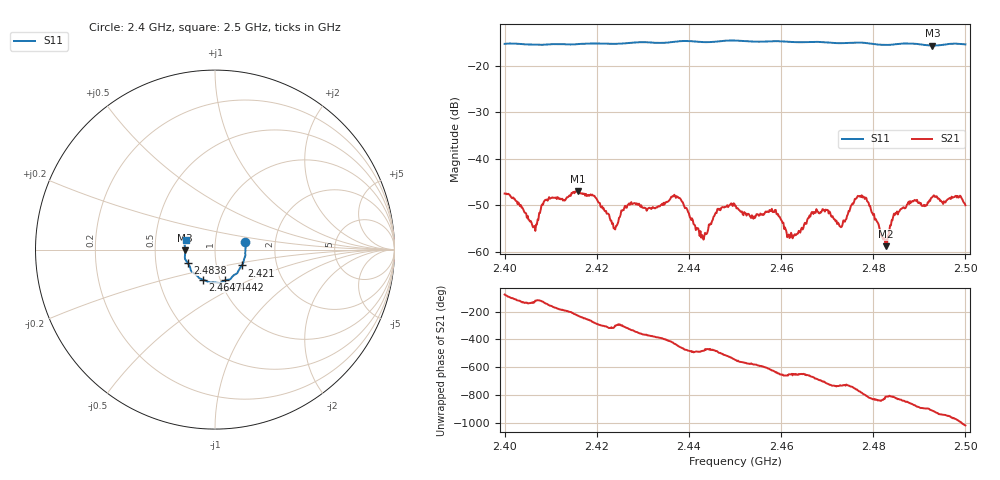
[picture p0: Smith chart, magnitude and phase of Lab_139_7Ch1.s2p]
# Hz S RI R 50
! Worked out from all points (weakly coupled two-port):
!   601 points, 2.4 GHz to 2.5 GHz, reference 50 ohm
!   highest |S21| = -46.92 dB at 2.4158 GHz (marker M1); lowest = -58.8 dB at 2.4827 GHz (marker M2)
!   lowest |S11| = -15.6 dB at 2.4928 GHz (marker M3), VSWR 1.40, Z = 35.8 - j0.359 ohm
!   |S11| at or under -10 dB: start of sweep to end of sweep
!   S12 and S22 are empty: the file has one direction only
!   S11 on the Smith chart (normalised r, x): 2.4 GHz: 1.40, +0.12; 2.421 GHz: 1.33, -0.24; 2.4442 GHz: 1.05, -0.37; 2.4647 GHz: 0.83, -0.29; 2.4838 GHz: 0.73, -0.11; 2.5 GHz: 0.72, +0.08
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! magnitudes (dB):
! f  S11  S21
! 2.4 GHz  -15.2  -47.5
! 2.4065 GHz  -15.4  -54.5
! 2.4092 GHz  -15.4  -48.8
! 2.4158 GHz  -15.3  -46.9
! 2.4167 GHz  -15.2  -47.5
! 2.421 GHz  -15.2  -50.5
! 2.4238 GHz  -15.2  -55.0
! 2.4272 GHz  -15.0  -49.9
! 2.4333 GHz  -15.0  -50.2
! 2.4373 GHz  -14.7  -48.0
! 2.4427 GHz  -14.8  -57.0
! 2.4442 GHz  -14.9  -55.3
! 2.45 GHz  -14.5  -50.1
! 2.4647 GHz  -14.9  -55.2
! 2.4667 GHz  -14.8  -51.5
! 2.4728 GHz  -15.1  -54.6
! 2.478 GHz  -15.0  -48.3
! 2.4827 GHz  -15.5  -58.8
! 2.4833 GHz  -15.5  -56.3
! 2.4838 GHz  -15.4  -54.4
! 2.4928 GHz  -15.6  -48.2
! 2.5 GHz  -15.4  -50.0
